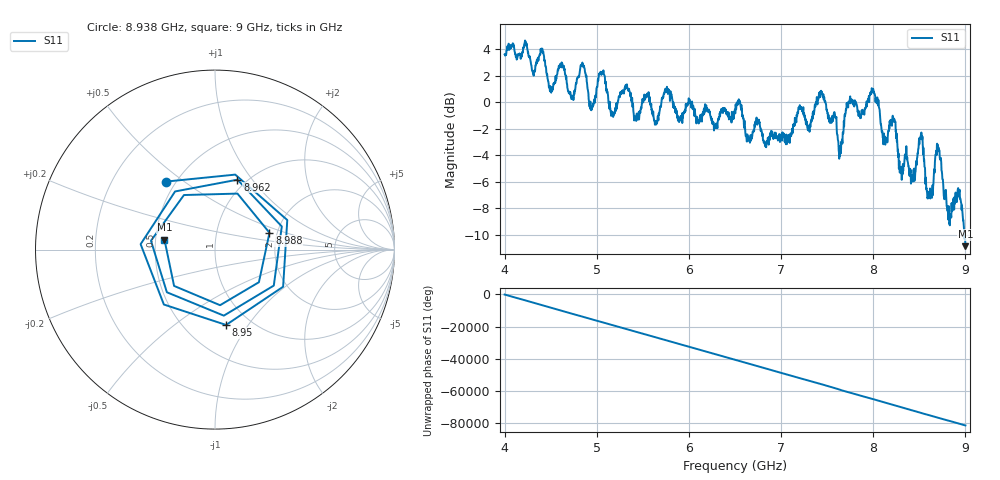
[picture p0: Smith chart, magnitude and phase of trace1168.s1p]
! Created with skrf 1.8.0 (http://scikit-rf.org).
# Hz S RI R 50.0
!freq ReS11 ImS11
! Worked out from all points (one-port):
!   1601 points, 4 GHz to 9 GHz, reference 50 ohm
!   lowest |S11| = -10.8 dB at 9 GHz (marker M1), VSWR 1.80, Z = 27.9 + j3.32 ohm
!   |S11| at or under -10 dB: 8.988357 GHz to end of sweep
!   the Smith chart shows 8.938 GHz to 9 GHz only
!   S11 on the Smith chart (normalised r, x): 8.938 GHz: 0.44, +0.43; 8.95 GHz: 0.78, -0.79; 8.962 GHz: 0.91, +0.85; 8.988 GHz: 1.82, +0.38; 9 GHz: 0.56, +0.07
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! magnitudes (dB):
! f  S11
! 4 GHz  3.6
! 4.403 GHz  4.0
! 4.503 GHz  0.8
! 4.625 GHz  2.9
! 4.731 GHz  0.5
! 4.85 GHz  2.9
! 4.941 GHz  -0.6
! 5.05 GHz  2.1
! 5.169 GHz  -0.9
! 5.25 GHz  0.4
! 5.875 GHz  -1.2
! 6.5 GHz  -0.5
! 7.125 GHz  -2.2
! 7.434 GHz  0.9
! 7.641 GHz  -3.3
! 7.75 GHz  0.5
! 7.997 GHz  1.0
! 8.375 GHz  -4.5
! 8.434 GHz  -5.8
! 8.519 GHz  -2.3
! 8.612 GHz  -6.8
! 8.7 GHz  -3.2
! 8.822 GHz  -8.3
! 8.938 GHz  -6.6
! 8.95 GHz  -7.4
! 8.962 GHz  -7.8
! 8.988 GHz  -10.0
! 9 GHz  -10.8
